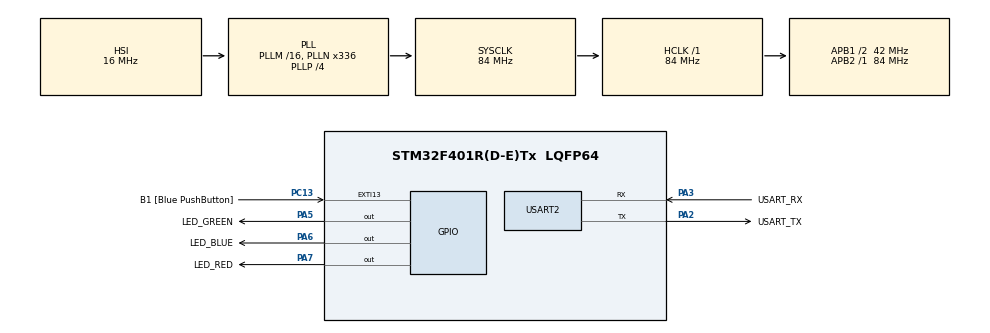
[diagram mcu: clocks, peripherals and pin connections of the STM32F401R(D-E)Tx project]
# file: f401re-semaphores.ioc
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FREERTOS.Tasks01=defaultTask,24,128,task_main,As weak,NULL,Dynamic,NULL,NULL
FREERTOS.configUSE_NEWLIB_REENTRANT=1
Mcu.Family=STM32F4
Mcu.Name=STM32F401R(D-E)Tx
Mcu.Package=LQFP64
NVIC.PriorityGroup=NVIC_PRIORITYGROUP_4
NVIC.TIM1_UP_TIM10_IRQn=true\:15\:0\:false\:false\:true\:false\:false\:true\:true
NVIC.TimeBase=TIM1_UP_TIM10_IRQn
NVIC.TimeBaseIP=TIM10
PA13.GPIO_Label=TMS
PA13.Mode=Trace_Asynchronous_SW
PA13.Signal=SYS_JTMS-SWDIO
PA14.GPIO_Label=TCK
PA14.Mode=Trace_Asynchronous_SW
PA14.Signal=SYS_JTCK-SWCLK
PA2.GPIO_Label=USART_TX
PA2.GPIO_Mode=GPIO_MODE_AF_PP
PA2.GPIO_PuPd=GPIO_NOPULL
PA2.GPIO_Speed=GPIO_SPEED_FREQ_LOW
PA2.Mode=Asynchronous
PA2.Signal=USART2_TX
PA3.GPIO_Label=USART_RX
PA3.GPIO_Mode=GPIO_MODE_AF_PP
PA3.GPIO_PuPd=GPIO_NOPULL
PA3.GPIO_Speed=GPIO_SPEED_FREQ_LOW
PA3.Mode=Asynchronous
PA3.Signal=USART2_RX
PA5.GPIO_Label=LED_GREEN
PA5.GPIO_Mode=GPIO_MODE_OUTPUT_PP
PA5.GPIO_PuPd=GPIO_NOPULL
PA5.GPIO_Speed=GPIO_SPEED_FREQ_LOW
PA5.Signal=GPIO_Output
PA6.GPIO_Label=LED_BLUE
PA6.Signal=GPIO_Output
PA7.GPIO_Label=LED_RED
PA7.Signal=GPIO_Output
PB3.GPIO_Label=SWO
PB3.Mode=Trace_Asynchronous_SW
PB3.Signal=SYS_JTDO-SWO
PC13-ANTI_TAMP.GPIO_Label=B1 [Blue PushButton]
PC13-ANTI_TAMP.GPIO_ModeDefaultEXTI=GPIO_MODE_IT_FALLING
PC13-ANTI_TAMP.GPIO_PuPd=GPIO_NOPULL
PC13-ANTI_TAMP.Signal=GPXTI13
PC14-OSC32_IN.Mode=LSE-External-Oscillator
PC14-OSC32_IN.Signal=RCC_OSC32_IN
PC15-OSC32_OUT.Mode=LSE-External-Oscillator
PC15-OSC32_OUT.Signal=RCC_OSC32_OUT
PH0\ -\ OSC_IN.Mode=HSE-External-Clock-Source
PH0\ -\ OSC_IN.Signal=RCC_OSC_IN
PH1\ -\ OSC_OUT.Mode=HSE-External-Clock-Source
PH1\ -\ OSC_OUT.Signal=RCC_OSC_OUT
ProjectManager.HeapSize=0x200
ProjectManager.StackSize=0x400
ProjectManager.TargetToolchain=STM32CubeIDE
RCC.48MHZClocksFreq_Value=48000000
RCC.AHBFreq_Value=84000000
RCC.APB1CLKDivider=RCC_HCLK_DIV2
RCC.APB1Freq_Value=42000000
RCC.APB1TimFreq_Value=84000000
RCC.APB2Freq_Value=84000000
RCC.APB2TimFreq_Value=84000000
RCC.CortexFreq_Value=84000000
RCC.HCLKFreq_Value=84000000
RCC.HSE_VALUE=8000000
RCC.HSI_VALUE=16000000
RCC.PLLN=336
RCC.PLLP=RCC_PLLP_DIV4
RCC.PLLQ=7
RCC.SYSCLKFreq_VALUE=84000000
RCC.SYSCLKSource=RCC_SYSCLKSOURCE_PLLCLK
RCC.VCOOutputFreq_Value=336000000
USART2.VirtualMode=VM_ASYNC
VP_FREERTOS_VS_CMSIS_V2.Mode=CMSIS_V2
VP_SYS_VS_tim10.Mode=TIM10
board=NUCLEO-F401RE

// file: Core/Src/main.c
/* USER CODE BEGIN Header */
/**
  ******************************************************************************
  * @file           : main.c
  * @brief          : Main program body
  ******************************************************************************
  * @attention
  *
  * Copyright (c) 2025 STMicroelectronics.
  * All rights reserved.
  *
  * This software is licensed under terms that can be found in the LICENSE file
  * in the root directory of this software component.
  * If no LICENSE file comes with this software, it is provided AS-IS.
  *
  ******************************************************************************
  */
/* USER CODE END Header */
#include "main.h"
#include "cmsis_os.h"

/* USER CODE BEGIN Includes */
#include "stdio.h"
#include "string.h"
#include "freertos_defines.h"
/* USER CODE END Includes */

UART_HandleTypeDef huart2;

/* Definitions for defaultTask */
osThreadId_t defaultTaskHandle;
const osThreadAttr_t defaultTask_attributes = {
  .name = "defaultTask",
  .stack_size = 128 * 4,
  .priority = (osPriority_t) osPriorityNormal,
};
/* USER CODE BEGIN PV */

TaskHandle_t handle_task_main;
TaskHandle_t handle_task_green;
TaskHandle_t handle_task_blue;
TaskHandle_t handle_task_red;
TaskHandle_t handle_task_button;

SemaphoreHandle_t handle_count_semap_1;

EventGroupHandle_t handle_event_1;

/* USER CODE END PV */

void SystemClock_Config(void);
static void MX_GPIO_Init(void);
static void MX_USART2_UART_Init(void);
void task_main(void *argument);

/* USER CODE BEGIN PFP */
app_button_t button = {	.port = B1_GPIO_Port,
						.pin = B1_Pin,
						.state = BUTTON_FREE};
/* USER CODE END PFP */

int main(void)
{

  /* USER CODE BEGIN 1 */
  BaseType_t status;
  /* USER CODE END 1 */

  /* MCU Configuration--------------------------------------------------------*/

  /* Reset of all peripherals, Initializes the Flash interface and the Systick. */
  HAL_Init();

  /* Configure the system clock */
  SystemClock_Config();

  /* Initialize all configured peripherals */
  MX_GPIO_Init();
  MX_USART2_UART_Init();

  /* Init scheduler */
  osKernelInitialize();

  /* USER CODE BEGIN RTOS_SEMAPHORES */
  /* add semaphores, ... */

  handle_count_semap_1 == NULL;
  handle_count_semap_1 = xSemaphoreCreateCounting(1, 1);

  /* USER CODE END RTOS_SEMAPHORES */

  /* Create the thread(s) */
  /* creation of defaultTask */
  //defaultTaskHandle = osThreadNew(task_main, NULL, &defaultTask_attributes);

  /* USER CODE BEGIN RTOS_THREADS */
  /* add threads, ... */
  status = xTaskCreate(task_main, "Main task", 64, NULL, osPriorityNormal, &handle_task_main);
  //assert_param(status == pdPASS);

  status = xTaskCreate(task_green, "Blinking green led task", 128, NULL, osPriorityNormal, &handle_task_green);
  //assert_param(status == pdPASS);

  status = xTaskCreate(task_blue, "Blinking blue led task", 128, NULL, osPriorityNormal, &handle_task_blue);
  //assert_param(status == pdPASS);

  status = xTaskCreate(task_red, "Blinking red led task", 64, NULL, osPriorityNormal, &handle_task_red);
  //assert_param(status == pdPASS);

  status = xTaskCreate(button_task_read_entry, "Button task", 128, (void *)&button, osPriorityNormal, &handle_task_button);

  /* USER CODE END RTOS_THREADS */

  /* USER CODE BEGIN RTOS_EVENTS */
  /* add events, ... */
  handle_event_1 = xEventGroupCreate();
  /* USER CODE END RTOS_EVENTS */

  /* Start scheduler */
  osKernelStart();

  /* We should never get here as control is now taken by the scheduler */

  /* Infinite loop */
  while (1)
  {

  }
}

void SystemClock_Config(void)
{
  RCC_OscInitTypeDef RCC_OscInitStruct = {0};
  RCC_ClkInitTypeDef RCC_ClkInitStruct = {0};

  /** Configure the main internal regulator output voltage
  */
  __HAL_RCC_PWR_CLK_ENABLE();
  __HAL_PWR_VOLTAGESCALING_CONFIG(PWR_REGULATOR_VOLTAGE_SCALE2);

  /** Initializes the RCC Oscillators according to the specified parameters
  * in the RCC_OscInitTypeDef structure.
  */
  RCC_OscInitStruct.OscillatorType = RCC_OSCILLATORTYPE_HSI;
  RCC_OscInitStruct.HSIState = RCC_HSI_ON;
  RCC_OscInitStruct.HSICalibrationValue = RCC_HSICALIBRATION_DEFAULT;
  RCC_OscInitStruct.PLL.PLLState = RCC_PLL_ON;
  RCC_OscInitStruct.PLL.PLLSource = RCC_PLLSOURCE_HSI;
  RCC_OscInitStruct.PLL.PLLM = 16;
  RCC_OscInitStruct.PLL.PLLN = 336;
  RCC_OscInitStruct.PLL.PLLP = RCC_PLLP_DIV4;
  RCC_OscInitStruct.PLL.PLLQ = 7;
  if (HAL_RCC_OscConfig(&RCC_OscInitStruct) != HAL_OK)
  {
    Error_Handler();
  }

  /** Initializes the CPU, AHB and APB buses clocks
  */
  RCC_ClkInitStruct.ClockType = RCC_CLOCKTYPE_HCLK|RCC_CLOCKTYPE_SYSCLK
                              |RCC_CLOCKTYPE_PCLK1|RCC_CLOCKTYPE_PCLK2;
  RCC_ClkInitStruct.SYSCLKSource = RCC_SYSCLKSOURCE_PLLCLK;
  RCC_ClkInitStruct.AHBCLKDivider = RCC_SYSCLK_DIV1;
  RCC_ClkInitStruct.APB1CLKDivider = RCC_HCLK_DIV2;
  RCC_ClkInitStruct.APB2CLKDivider = RCC_HCLK_DIV1;

  if (HAL_RCC_ClockConfig(&RCC_ClkInitStruct, FLASH_LATENCY_2) != HAL_OK)
  {
    Error_Handler();
  }
}

static void MX_USART2_UART_Init(void)
{

  huart2.Instance = USART2;
  huart2.Init.BaudRate = 115200;
  huart2.Init.WordLength = UART_WORDLENGTH_8B;
  huart2.Init.StopBits = UART_STOPBITS_1;
  huart2.Init.Parity = UART_PARITY_NONE;
  huart2.Init.Mode = UART_MODE_TX_RX;
  huart2.Init.HwFlowCtl = UART_HWCONTROL_NONE;
  huart2.Init.OverSampling = UART_OVERSAMPLING_16;
  if (HAL_UART_Init(&huart2) != HAL_OK)
  {
    Error_Handler();
  }

}

static void MX_GPIO_Init(void)
{
  GPIO_InitTypeDef GPIO_InitStruct = {0};

  /* GPIO Ports Clock Enable */
  __HAL_RCC_GPIOC_CLK_ENABLE();
  __HAL_RCC_GPIOH_CLK_ENABLE();
  __HAL_RCC_GPIOA_CLK_ENABLE();
  __HAL_RCC_GPIOB_CLK_ENABLE();

  /*Configure GPIO pin Output Level */
  HAL_GPIO_WritePin(GPIOA, LED_GREEN_Pin|LED_BLUE_Pin|LED_RED_Pin, GPIO_PIN_RESET);

  /*Configure GPIO pin : B1_Pin */
  GPIO_InitStruct.Pin = B1_Pin;
  GPIO_InitStruct.Mode = GPIO_MODE_IT_FALLING;
  GPIO_InitStruct.Pull = GPIO_NOPULL;
  HAL_GPIO_Init(B1_GPIO_Port, &GPIO_InitStruct);

  /*Configure GPIO pins : LED_GREEN_Pin LED_BLUE_Pin LED_RED_Pin */
  GPIO_InitStruct.Pin = LED_GREEN_Pin|LED_BLUE_Pin|LED_RED_Pin;
  GPIO_InitStruct.Mode = GPIO_MODE_OUTPUT_PP;
  GPIO_InitStruct.Pull = GPIO_NOPULL;
  GPIO_InitStruct.Speed = GPIO_SPEED_FREQ_LOW;
  HAL_GPIO_Init(GPIOA, &GPIO_InitStruct);

}

__weak void task_main(void *argument)
{
}

void HAL_TIM_PeriodElapsedCallback(TIM_HandleTypeDef *htim)
{
  if (htim->Instance == TIM10) {
    HAL_IncTick();
  }
}

void Error_Handler(void)
{
  __disable_irq();
  while (1)
  {
  }
}

#ifdef  USE_FULL_ASSERT
/**
  * @brief  Reports the name of the source file and the source line number
  *         where the assert_param error has occurred.
  * @param  file: pointer to the source file name
  * @param  line: assert_param error line source number
  * @retval None
  */
void assert_failed(uint8_t *file, uint32_t line)
{
  /* USER CODE BEGIN 6 */
  /* User can add his own implementation to report the file name and line number,
     ex: printf("Wrong parameters value: file %s on line %d\r\n", file, line) */

	// Guardar error en una variable global o log (opcional)
	static uint32_t last_assert_line = 0;
	last_assert_line = line;
    printf("⚠️  Assert Fallido: Archivo %s, Línea %lu\n", file, line);

    // Enviar el mensaje por UART (opcional, si tienes una interfaz serial)
    char msg[100];
    snprintf(msg, sizeof(msg), "ASSERT FAILED: %s, LINE: %lu\n", file, line);
    HAL_UART_Transmit(&huart2, (uint8_t *)msg, strlen(msg), HAL_MAX_DELAY);

  /* USER CODE END 6 */
}
#endif /* USE_FULL_ASSERT */

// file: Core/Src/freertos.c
/* USER CODE BEGIN Header */
/**
  ******************************************************************************
  * File Name          : freertos.c
  * Description        : Code for freertos applications
  ******************************************************************************
  * @attention
  *
  * Copyright (c) 2025 STMicroelectronics.
  * All rights reserved.
  *
  * This software is licensed under terms that can be found in the LICENSE file
  * in the root directory of this software component.
  * If no LICENSE file comes with this software, it is provided AS-IS.
  *
  ******************************************************************************
  */
/* USER CODE END Header */

#include "FreeRTOS.h"
#include "task.h"
#include "main.h"

/* USER CODE BEGIN Includes */
#include "freertos_defines.h"
#include "stdlib.h"
/* USER CODE END Includes */

/* USER CODE BEGIN Variables */
volatile uint32_t flag = 0;
/* USER CODE END Variables */

/* USER CODE BEGIN FunctionPrototypes */
static void Blinking_led(GPIO_TypeDef *gpio, uint8_t pin);
/* USER CODE END FunctionPrototypes */

/* USER CODE BEGIN Application */

void task_main(void *params)
{
	for(;;)
	{
		vTaskDelete(handle_task_main);
	}
}

void task_green(void *params)
{
	//uint8_t cont = 0;

	for(;;)
	{
		if(xSemaphoreTake(handle_count_semap_1, pdMS_TO_TICKS(10))==pdPASS)
		{
			HAL_GPIO_WritePin(LED_RED_GPIO_Port, LED_RED_Pin, GPIO_PIN_RESET);
			Blinking_led(LED_GREEN_GPIO_Port, LED_GREEN_Pin);
			//xSemaphoreGive(handle_count_semap_1);
		}
		else
		{
			//HAL_GPIO_WritePin(LED_RED_GPIO_Port, LED_RED_Pin, GPIO_PIN_SET);
			//osDelay(500);
		}
	}
}

void task_blue(void *params)
{
	//uint8_t cont = 0;
	for(;;)
	{
		if(xSemaphoreTake(handle_count_semap_1, pdMS_TO_TICKS(10))==pdPASS)
		{
			HAL_GPIO_WritePin(LED_RED_GPIO_Port, LED_RED_Pin, GPIO_PIN_RESET);
			Blinking_led(LED_BLUE_GPIO_Port, LED_BLUE_Pin);
			//xSemaphoreGive(handle_count_semap_1);
		}
		else
		{
			//HAL_GPIO_WritePin(LED_RED_GPIO_Port, LED_RED_Pin, GPIO_PIN_SET);
			//osDelay(500);
		}
	}
}

void task_red(void *params)
{
	//uint8_t cont = 0;
	for(;;)
	{
		vTaskDelete(handle_task_red);
	}
}

void button_task_read_entry(void *params)
{
	app_button_t *obj;
	obj = (app_button_t *)params;

	//uint8_t cont = 0;
	uint8_t state;
	uint8_t pin_read = 0;
	uint32_t ticks = 0;

	//osEventFlagsWait(handle_event_1, SYS_READY, osFlagsWaitAny, osWaitForever);

	for(;;)
	{
		pin_read = HAL_GPIO_ReadPin(obj->port, obj->pin);
		state = obj->state;
		switch(state)
		{
			case BUTTON_FREE:
				/*Action*/

				/*Si detecta que se presiona (En 0)*/
				if(pin_read == GPIO_PIN_RESET)
				{
					vTaskDelay(pdMS_TO_TICKS(30));
					obj->state = BUTTON_DEBOUNCE;
				}
				break;

			case BUTTON_DEBOUNCE:
				/*Action*/

				/*Si se mantiene presionado*/
				if(pin_read == GPIO_PIN_RESET)
				{
					ticks = xTaskGetTickCount();
					obj->state = BUTTON_ONPRESS;
				}
				else /*Si se suelta rápidamente*/
				{
					//Event
					obj->state = BUTTON_ONRELEASE;
				}
				break;

			case BUTTON_ONPRESS:
				/*Action*/

				/*Confirmando que sigue presionado*/
				if(pin_read == GPIO_PIN_RESET)
				{
					/*Esperamos un tiempo*/
					if((xTaskGetTickCount() - ticks) >= pdMS_TO_TICKS(2000))
					{
						obj->state = BUTTON_KEEPALIVE;
					}

				}
				else /*Si se soltó el botón*/
				{
					obj->state = BUTTON_ONRELEASE;
				}
				break;

			case BUTTON_KEEPALIVE:
				/*Action*/

				/*Si soltamos el botón*/
				if(pin_read == GPIO_PIN_SET)
				{
					/*Cambiamos a on_release*/
					obj->state = BUTTON_ONRELEASE;
				}
				break;

			case BUTTON_ONRELEASE:
				/*Action*/
				xSemaphoreGive(handle_count_semap_1);

				/*Volvemos a FREE*/
				obj->state = BUTTON_FREE;
				break;
			default:
				break;
		}
		vTaskDelay(pdMS_TO_TICKS(20));
	}
}

void Blinking_led(GPIO_TypeDef *gpio, uint8_t pin)
{
	HAL_GPIO_WritePin(gpio, pin, GPIO_PIN_SET);
	osDelay(500);
	HAL_GPIO_WritePin(gpio, pin, GPIO_PIN_RESET);
	osDelay(500);
	HAL_GPIO_WritePin(gpio, pin, GPIO_PIN_SET);
	osDelay(500);
	HAL_GPIO_WritePin(gpio, pin, GPIO_PIN_RESET);
	osDelay(500);
}

/* USER CODE END Application */
